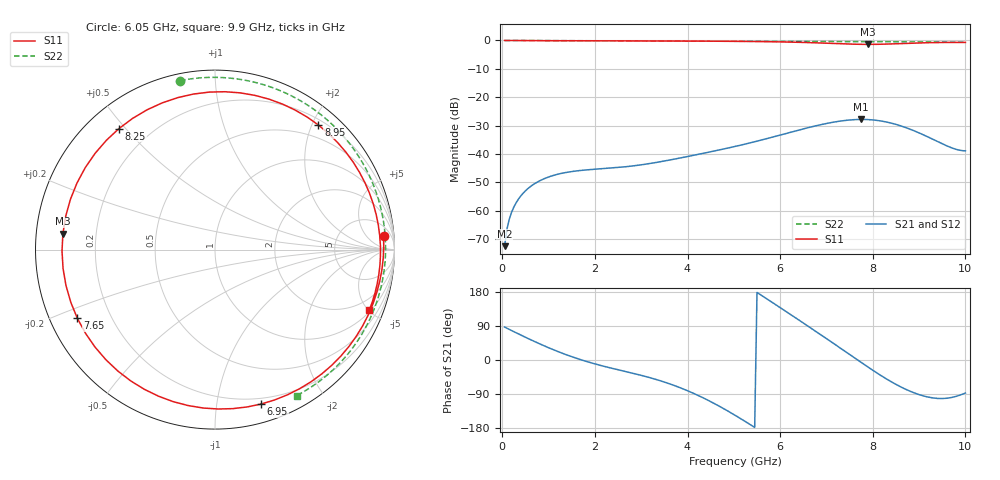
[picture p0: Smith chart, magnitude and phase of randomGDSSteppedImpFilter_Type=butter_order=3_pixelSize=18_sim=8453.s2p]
! freq	dB(S11)	phase(S11)	dB(S12)	phase(S12)
!  dB(S21)	phase(S21)	dB(S22)	phase(S22)
!S-par simulation data
#  GHz  S  DB  R 50
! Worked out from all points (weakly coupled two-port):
!   200 points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, 50 MHz to 10 GHz, reference 50 ohm
!   highest |S21| = -27.84 dB at 7.75 GHz (marker M1); lowest = -72.5 dB at 50 MHz (marker M2)
!   lowest |S11| = -1.4 dB at 7.9 GHz (marker M3), VSWR 12.53, Z = 4 + j2.6 ohm
!   |S11| at or under -10 dB: nowhere
!   |S22| runs from -0.6 to 0.0 dB; largest |S21 - S12| = 0
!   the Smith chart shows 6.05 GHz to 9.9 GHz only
!   S11 on the Smith chart (normalised r, x): 6.05 GHz: 12, +16; 6.95 GHz: 0.15, -1.33; 7.65 GHz: 0.08, -0.23; 8.25 GHz: 0.09, +0.48; 8.95 GHz: 0.28, +2.10; 9.9 GHz: 1.12, -5.10
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0.05  -0.01 -3.9  -72.50 86.9  -72.50 86.9  -0.00 -2.3
0.2  -0.02 -15.5  -60.59 77.7  -60.59 77.7  -0.01 -9.0
0.5  -0.05 -38.3  -52.99 60.0  -52.99 60.0  -0.03 -22.4
1.1  -0.09 -80.5  -47.58 27.3  -47.58 27.3  -0.06 -48.8
1.75  -0.12 -120.3  -45.72 -1.4  -45.72 -1.4  -0.09 -76.5
2.55  -0.15 -162.6  -44.69 -27.2  -44.69 -27.2  -0.13 -109.5
3.4  -0.18 156.2  -42.78 -54.3  -42.78 -54.3  -0.17 -143.8
4.3  -0.24 111.8  -39.91 -97.7  -39.91 -97.7  -0.23 179.5
5.05  -0.31 70.6  -37.27 -147.6  -37.27 -147.6  -0.28 147.4
6.05  -0.52 4.5  -33.12 134.2  -33.12 134.2  -0.34 101.7
6.7  -0.79 -49.3  -30.35 81.3  -30.35 81.3  -0.38 70.7
6.95  -0.93 -73.4  -29.43 60.6  -29.43 60.6  -0.39 58.7
7.3  -1.16 -111.0  -28.41 31.5  -28.41 31.5  -0.40 42.2
7.65  -1.34 -153.5  -27.87 2.0  -27.87 2.0  -0.41 26.1
7.75  -1.37 -166.4  -27.84 -6.4  -27.84 -6.4  -0.42 21.6
7.9  -1.39 174.0  -27.89 -18.9  -27.89 -18.9  -0.42 14.9
8.25  -1.30 128.4  -28.59 -46.6  -28.59 -46.6  -0.44 -0.2
8.35  -1.25 115.9  -28.94 -53.9  -28.94 -53.9  -0.45 -4.3
8.95  -0.90 50.3  -32.23 -89.2  -32.23 -89.2  -0.49 -28.0
9.4  -0.73 12.3  -35.64 -101.4  -35.64 -101.4  -0.54 -44.2
9.9  -0.69 -21.2  -38.75 -91.9  -38.75 -91.9  -0.62 -60.8
10  -0.70 -27.1  -38.91 -87.3  -38.91 -87.3  -0.63 -64.0
